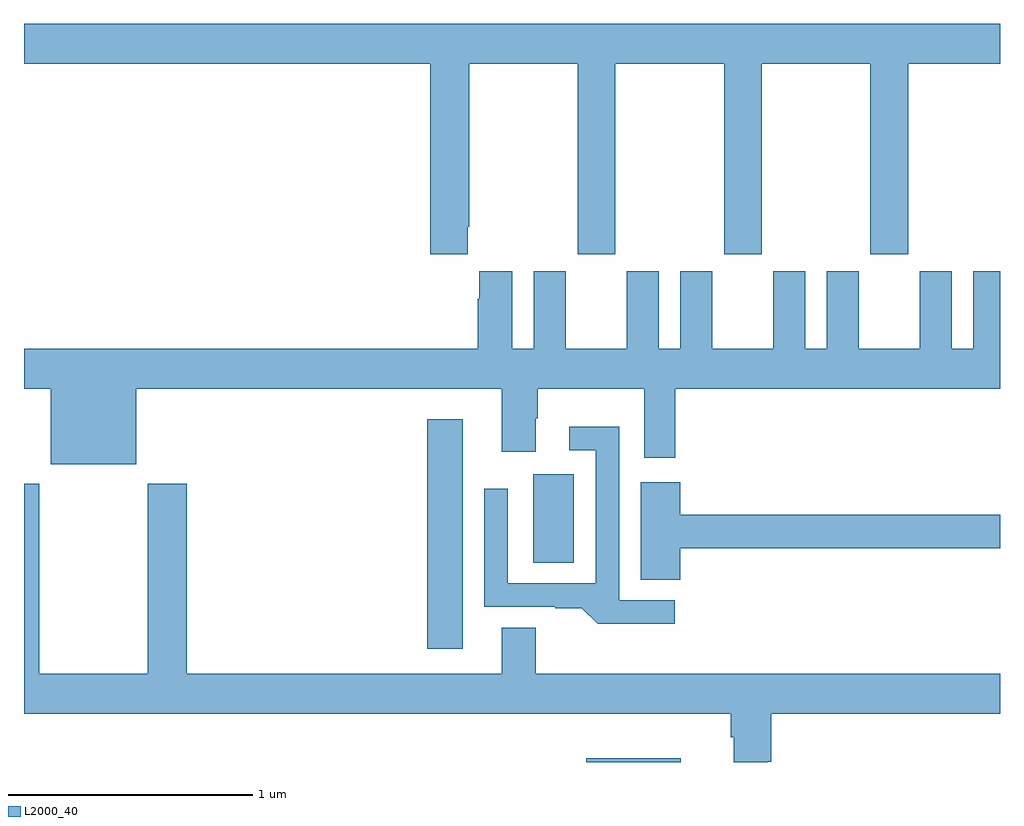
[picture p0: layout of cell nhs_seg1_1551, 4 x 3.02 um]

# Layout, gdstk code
import gdstk
lib = gdstk.Library(unit=1e-6, precision=1e-09)
def R(c, l, rs):  # rectangles x0, y0, x1, y1
    for r in rs: c.add(gdstk.rectangle(r[:2], r[2:], *l))
def P(c, l, *ps):  # polygons
    for p in ps: c.add(gdstk.Polygon(p, *l))
L2000_40 = (2000, 40)

nhs_seg1_1551 = lib.new_cell('nhs_seg1_1551')
R(nhs_seg1_1551, L2000_40, [(197.304,554.199,197.692,554.215), (196.652,554.664,196.798,555.604), (197.087,555.016,197.254,555.379)])
P(nhs_seg1_1551, L2000_40, [(196.819,556.393),(196.824,556.393),(196.824,557.06),(197.269,557.06),(197.269,556.281),(197.424,556.281),(197.424,557.06),(197.869,557.06),(197.869,556.281),(198.024,556.281),(198.024,557.06),(198.469,557.06),(198.469,556.281),(198.624,556.281),(198.624,557.06),(199,557.06),(199,557.224),(195,557.224),(195,557.06),(196.664,557.06),(196.664,556.281),(196.819,556.281)],
  [(197.543,555.447),(197.669,555.447),(197.669,555.728),(199,555.728),(199,556.21),(198.89,556.21),(198.89,555.892),(198.802,555.892),(198.802,556.21),(198.671,556.21),(198.671,555.892),(198.421,555.892),(198.421,556.21),(198.29,556.21),(198.29,555.892),(198.202,555.892),(198.202,556.21),(198.071,556.21),(198.071,555.892),(197.821,555.892),(197.821,556.21),(197.69,556.21),(197.69,555.892),(197.602,555.892),(197.602,556.21),(197.471,556.21),(197.471,555.892),(197.221,555.892),(197.221,556.21),(197.09,556.21),(197.09,555.892),(197.002,555.892),(197.002,556.21),(196.865,556.21),(196.865,556.097),(196.859,556.097),(196.859,555.892),(195,555.892),(195,555.728),(195.11,555.728),(195.11,555.419),(195.46,555.419),(195.46,555.728),(196.958,555.728),(196.958,555.471),(197.098,555.471),(197.098,555.608),(197.106,555.608),(197.106,555.728),(197.543,555.728)],
  [(197.668,554.862),(197.439,554.862),(197.439,555.574),(197.235,555.574),(197.235,555.477),(197.343,555.477),(197.343,554.931),(196.983,554.931),(196.983,555.319),(196.887,555.319),(196.887,554.835),(197.177,554.835),(197.177,554.83),(197.285,554.83),(197.351,554.765),(197.668,554.765)],
  [(197.69,555.076),(199,555.076),(199,555.212),(197.69,555.212),(197.69,555.346),(197.528,555.346),(197.528,554.947),(197.69,554.947)],
  [(198.049,554.2),(198.062,554.2),(198.062,554.396),(199,554.396),(199,554.56),(197.098,554.56),(197.098,554.75),(196.958,554.75),(196.958,554.56),(195.668,554.56),(195.668,555.34),(195.508,555.34),(195.508,554.56),(195.063,554.56),(195.063,555.34),(195,555.34),(195,554.396),(197.897,554.396),(197.897,554.3),(197.909,554.3),(197.909,554.199),(198.049,554.199)])

lib.write_gds('nhs_seg1_1551.gds')
